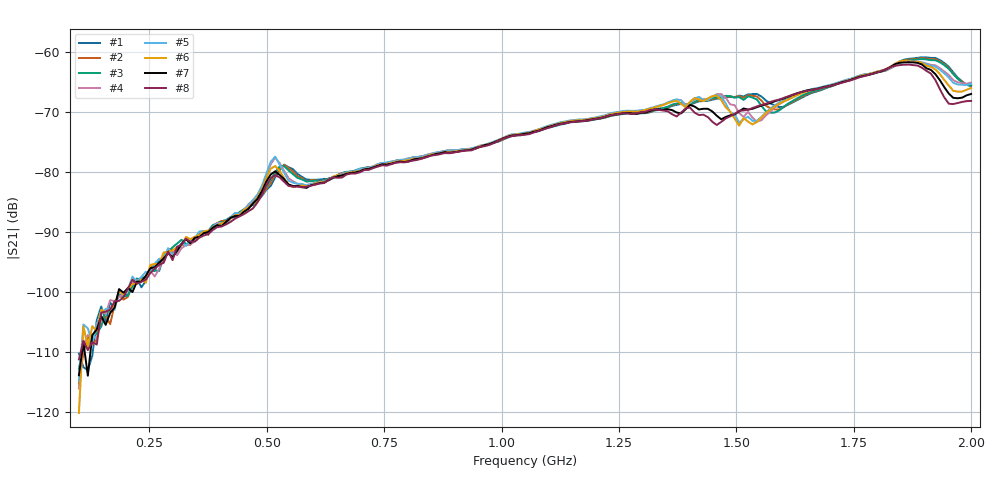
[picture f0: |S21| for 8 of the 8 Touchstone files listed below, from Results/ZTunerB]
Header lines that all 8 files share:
!Keysight Technologies,N5242B,MY48420967,A.15.65.19
!Correction: S11(C  2-Port  )
!S21(C  2-Port  )
!S12(C  2-Port  )
!S22(C  2-Port  )
!S2P File: Measurements: S11, S21, S12, S22:
# Hz S  dB  R 50
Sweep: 100 MHz to 2 GHz
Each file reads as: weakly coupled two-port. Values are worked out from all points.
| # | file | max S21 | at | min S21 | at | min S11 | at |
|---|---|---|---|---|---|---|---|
| 1 | S-ParamMeas20k_ZTunerB.s2p | -60.95 dB | 1.895 GHz | -113.1 dB | 119 MHz | -3.0 dB | 1.933 GHz |
| 2 | S-ParamMeas25k_ZTunerB.s2p | -61.10 dB | 1.895 GHz | -115.3 dB | 100 MHz | -3.0 dB | 1.933 GHz |
| 3 | S-ParamMeas30k_ZTunerB.s2p | -61.25 dB | 1.895 GHz | -112.8 dB | 100 MHz | -3.0 dB | 1.933 GHz |
| 4 | S-ParamMeas77k_ZTunerB.s2p | -61.57 dB | 1.857 GHz | -116.2 dB | 100 MHz | -3.2 dB | 1.933 GHz |
| 5 | S-ParamMeas100k_ZTunerB.s2p | -61.54 dB | 1.857 GHz | -114.8 dB | 100 MHz | -3.3 dB | 1.933 GHz |
| 6 | S-ParamMeas200k_ZTunerB.s2p | -61.56 dB | 1.857 GHz | -120.2 dB | 100 MHz | -3.9 dB | 1.933 GHz |
| 7 | S-ParamMeas250k_ZTunerB.s2p | -61.79 dB | 1.867 GHz | -114.0 dB | 119 MHz | -4.2 dB | 1.933 GHz |
| 8 | S-ParamMeas290k_ZTunerB.s2p | -62.17 dB | 1.867 GHz | -111.3 dB | 100 MHz | -4.5 dB | 1.933 GHz |
